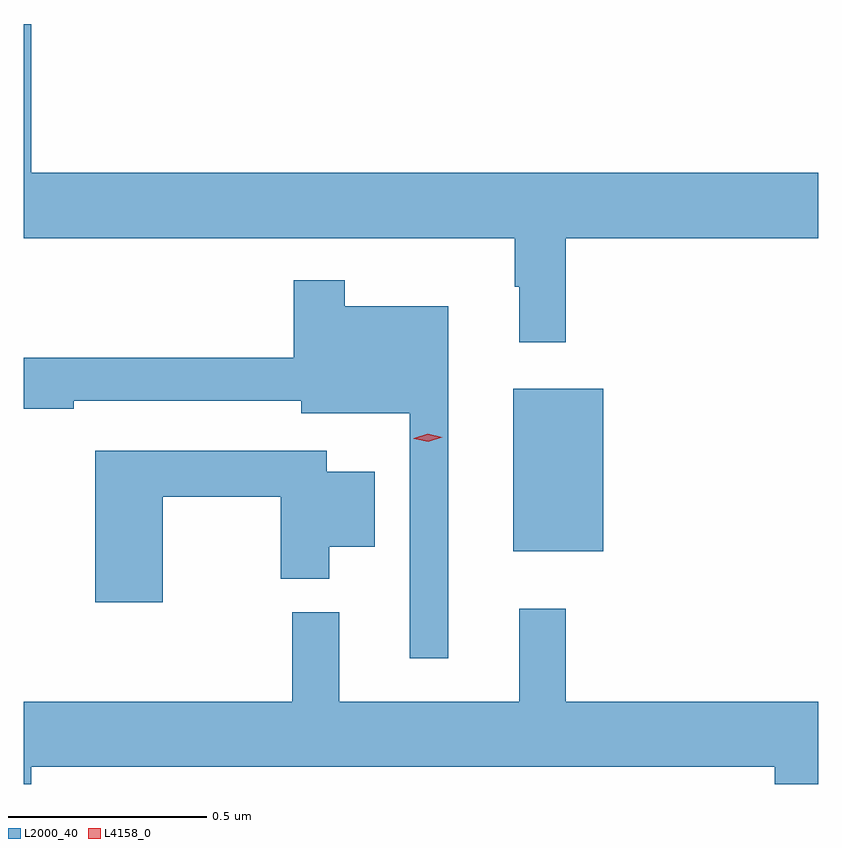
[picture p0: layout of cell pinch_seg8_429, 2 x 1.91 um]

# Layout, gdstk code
import gdstk
lib = gdstk.Library(unit=1e-6, precision=1e-09)
def R(c, l, rs):  # rectangles x0, y0, x1, y1
    for r in rs: c.add(gdstk.rectangle(r[:2], r[2:], *l))
def P(c, l, *ps):  # polygons
    for p in ps: c.add(gdstk.Polygon(p, *l))
L2000_40 = (2000, 40)
L4158_0 = (4158, 0)

pinch_seg8_429 = lib.new_cell('pinch_seg8_429')
R(pinch_seg8_429, L2000_40, [(286.265,1129.031,286.492,1129.441)])
P(pinch_seg8_429, L2000_40, [(286.397,1129.82),(287.033,1129.82),(287.033,1129.984),(285.052,1129.984),(285.052,1130.359),(285.033,1130.359),(285.033,1129.82),(286.269,1129.82),(286.269,1129.697),(286.28,1129.697),(286.28,1129.557),(286.397,1129.557)],
  [(286.102,1129.648),(285.841,1129.648),(285.841,1129.714),(285.712,1129.714),(285.712,1129.519),(285.033,1129.519),(285.033,1129.39),(285.158,1129.39),(285.158,1129.41),(285.731,1129.41),(285.731,1129.379),(286.005,1129.379),(286.005,1128.762),(286.102,1128.762)],
  [(285.382,1129.168),(285.68,1129.168),(285.68,1128.962),(285.802,1128.962),(285.802,1129.043),(285.916,1129.043),(285.916,1129.231),(285.796,1129.231),(285.796,1129.284),(285.212,1129.284),(285.212,1128.903),(285.382,1128.903)],
  [(286.28,1128.886),(286.28,1128.652),(285.827,1128.652),(285.827,1128.877),(285.709,1128.877),(285.709,1128.652),(285.033,1128.652),(285.033,1128.445),(285.052,1128.445),(285.052,1128.488),(286.924,1128.488),(286.924,1128.445),(287.033,1128.445),(287.033,1128.652),(286.397,1128.652),(286.397,1128.886)])
P(pinch_seg8_429, L4158_0, [(286.051,1129.307),(286.015,1129.315),(286.015,1129.316),(286.015,1129.316),(286.05,1129.327),(286.086,1129.318),(286.086,1129.318),(286.086,1129.318)])

lib.write_gds('pinch_seg8_429.gds')
